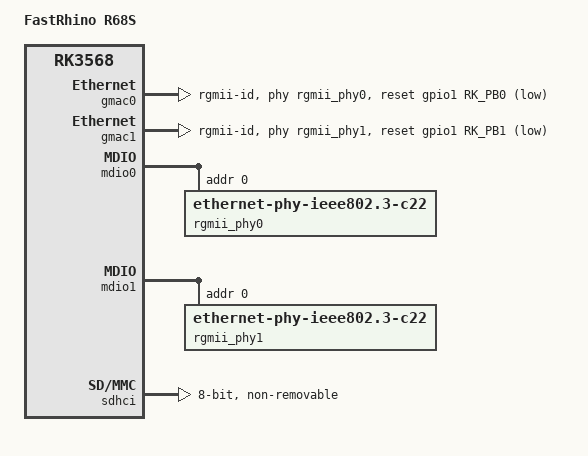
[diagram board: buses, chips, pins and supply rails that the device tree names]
// SPDX-License-Identifier: (GPL-2.0+ OR MIT)

/dts-v1/;

#include "rk3568-fastrhino.dtsi"

/ {
	model = "FastRhino R68S";
	compatible = "fastrhino,r68s", "rockchip,rk3568";

	aliases {
		ethernet0 = &gmac0;
		ethernet1 = &gmac1;
		mmc0 = &sdhci;
	};
};

&gmac0 {
	assigned-clocks = <&cru SCLK_GMAC0_RX_TX>, <&cru SCLK_GMAC0>;
	assigned-clock-parents = <&cru SCLK_GMAC0_RGMII_SPEED>;
	assigned-clock-rates = <0>, <125000000>;
	clock_in_out = "output";
	phy-mode = "rgmii-id";
	pinctrl-names = "default";
	pinctrl-0 = <&gmac0_miim
		     &gmac0_tx_bus2
		     &gmac0_rx_bus2
		     &gmac0_rgmii_clk
		     &gmac0_rgmii_bus>;
	snps,reset-gpio = <&gpio1 RK_PB0 GPIO_ACTIVE_LOW>;
	snps,reset-active-low;
	/* Reset time is 20ms, 100ms for rtl8211f */
	snps,reset-delays-us = <0 20000 100000>;
	tx_delay = <0x3c>;
	rx_delay = <0x2f>;
	phy-handle = <&rgmii_phy0>;
	status = "okay";
};

&gmac1 {
	assigned-clocks = <&cru SCLK_GMAC1_RX_TX>, <&cru SCLK_GMAC1>;
	assigned-clock-parents = <&cru SCLK_GMAC1_RGMII_SPEED>;
	assigned-clock-rates = <0>, <125000000>;
	clock_in_out = "output";
	phy-mode = "rgmii-id";
	pinctrl-names = "default";
	pinctrl-0 = <&gmac1m1_miim
		     &gmac1m1_tx_bus2
		     &gmac1m1_rx_bus2
		     &gmac1m1_rgmii_clk
		     &gmac1m1_rgmii_bus>;
	snps,reset-gpio = <&gpio1 RK_PB1 GPIO_ACTIVE_LOW>;
	snps,reset-active-low;
	/* Reset time is 20ms, 100ms for rtl8211f */
	snps,reset-delays-us = <0 20000 100000>;
	tx_delay = <0x4f>;
	rx_delay = <0x26>;
	phy-handle = <&rgmii_phy1>;
	status = "okay";
};

&mdio0 {
	rgmii_phy0: ethernet-phy@0 {
		compatible = "ethernet-phy-ieee802.3-c22";
		reg = <0x0>;
		realtek,led-data = <0x6d60>;
	};
};

&mdio1 {
	rgmii_phy1: ethernet-phy@0 {
		compatible = "ethernet-phy-ieee802.3-c22";
		reg = <0x0>;
		realtek,led-data = <0x6d60>;
	};
};

&sdhci {
	bus-width = <8>;
	max-frequency = <200000000>;
	non-removable;
	pinctrl-names = "default";
	pinctrl-0 = <&emmc_bus8 &emmc_clk &emmc_cmd &emmc_datastrobe>;
	status = "okay";
};
